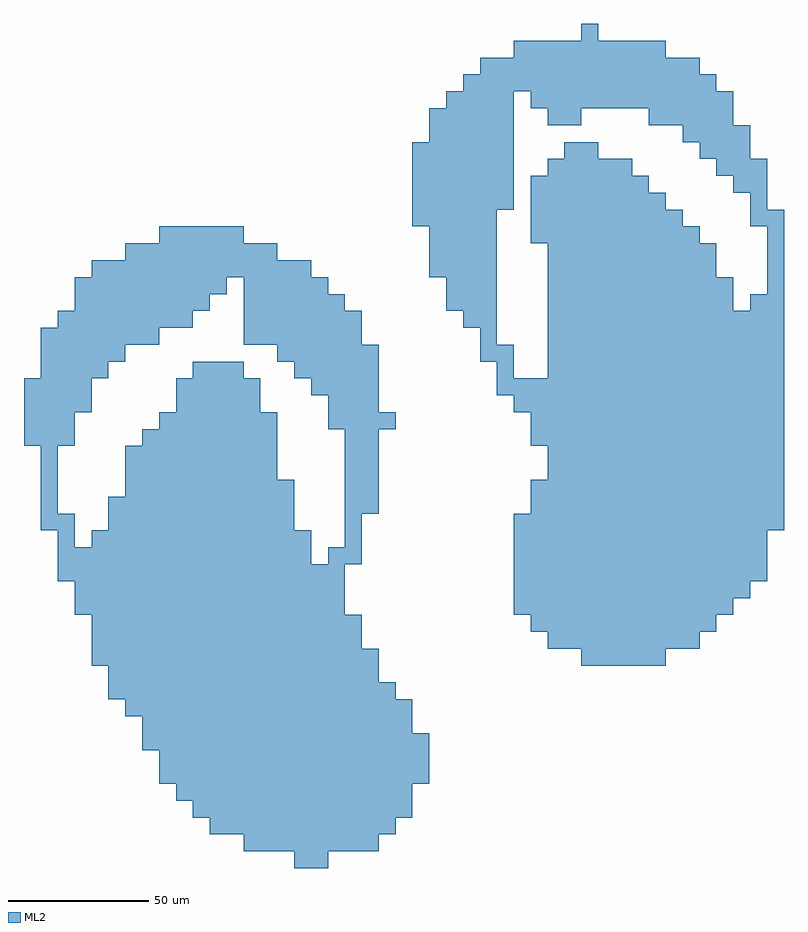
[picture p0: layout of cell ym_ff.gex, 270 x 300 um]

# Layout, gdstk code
import gdstk
lib = gdstk.Library(unit=1e-6, precision=1e-09)
def R(c, l, rs):  # rectangles x0, y0, x1, y1
    for r in rs: c.add(gdstk.rectangle(r[:2], r[2:], *l))
def A(c, l, x, y, w, h, nx, ny, dx, dy):  # array of equal rectangles
    R(c, l, [(x+i*dx, y+j*dy, x+i*dx+w, y+j*dy+h) for i in range(nx) for j in range(ny)])
ML2 = (14, 0)

ym_ff_gex = lib.new_cell('ym_ff.gex')
A(ym_ff_gex, ML2, 174, -198, 90, 6, 1, 3, 0, 6)
A(ym_ff_gex, ML2, 6, -174, 6, 6, 1, 4, 0, 6)
A(ym_ff_gex, ML2, 114, -174, 12, 6, 1, 5, 0, 6)
A(ym_ff_gex, ML2, 186, -126, 84, 6, 1, 4, 0, 6)
A(ym_ff_gex, ML2, 264, -96, 6, 6, 1, 4, 0, 6)
A(ym_ff_gex, ML2, 144, -90, 24, 6, 1, 3, 0, 6)
A(ym_ff_gex, ML2, 138, -66, 36, 6, 1, 4, 0, 6)
R(ym_ff_gex, ML2, [(96,-300,108,-294), (78,-294,126,-288), (66,-288,132,-282), (60,-282,138,-276), (54,-276,138,-270), (48,-270,144,-264), (48,-264,144,-258), (42,-258,144,-252), (42,-252,138,-246), (36,-246,138,-240), (30,-240,132,-234), (30,-234,126,-228), (24,-228,126,-222), (198,-228,228,-222), (24,-222,120,-216), (186,-222,240,-216), (24,-216,120,-210), (180,-216,246,-210), (18,-210,114,-204), (174,-210,252,-204), (18,-204,114,-198), (174,-204,258,-198), (12,-198,114,-192), (12,-192,102,-186), (108,-192,120,-186), (12,-186,18,-180), (24,-186,102,-180), (114,-186,120,-180), (6,-180,18,-174), (30,-180,96,-174), (114,-180,120,-174), (174,-180,270,-174), (30,-174,96,-168), (180,-174,270,-168), (36,-168,96,-162), (180,-168,270,-162), (36,-162,90,-156), (186,-162,270,-156), (36,-156,90,-150), (186,-156,270,-150), (0,-150,18,-144), (42,-150,90,-144), (180,-150,270,-144), (0,-144,18,-138), (48,-144,90,-138), (108,-144,132,-138), (180,-144,270,-138), (0,-138,24,-132), (54,-138,84,-132), (108,-138,126,-132), (174,-138,270,-132), (0,-132,24,-126), (54,-132,84,-126), (102,-132,126,-126), (168,-132,270,-126), (6,-126,30,-120), (60,-126,78,-120), (96,-126,126,-120), (168,-126,174,-120), (6,-120,36,-114), (90,-120,126,-114), (162,-120,174,-114), (6,-114,48,-108), (78,-114,120,-108), (162,-114,168,-108), (12,-108,60,-102), (78,-108,120,-102), (156,-108,168,-102), (18,-102,66,-96), (78,-102,114,-96), (150,-102,168,-96), (186,-102,252,-96), (258,-102,270,-96), (18,-96,72,-90), (78,-96,108,-90), (150,-96,168,-90), (186,-96,252,-90), (24,-90,102,-84), (186,-90,246,-84), (36,-84,90,-78), (186,-84,246,-78), (48,-78,78,-72), (180,-78,240,-72), (138,-72,168,-66), (180,-72,234,-66), (258,-72,270,-66), (180,-66,228,-60), (258,-66,264,-60), (180,-60,222,-54), (252,-60,264,-54), (186,-54,216,-48), (246,-54,264,-48), (192,-48,204,-42), (240,-48,258,-42), (144,-42,174,-36), (234,-42,258,-36), (144,-36,174,-30), (186,-36,198,-30), (222,-36,252,-30), (150,-30,174,-24), (180,-30,252,-24), (156,-24,246,-18), (162,-18,240,-12), (174,-12,228,-6), (198,-6,204,0)])

lib.write_gds('ym_ff.gex.gds')
